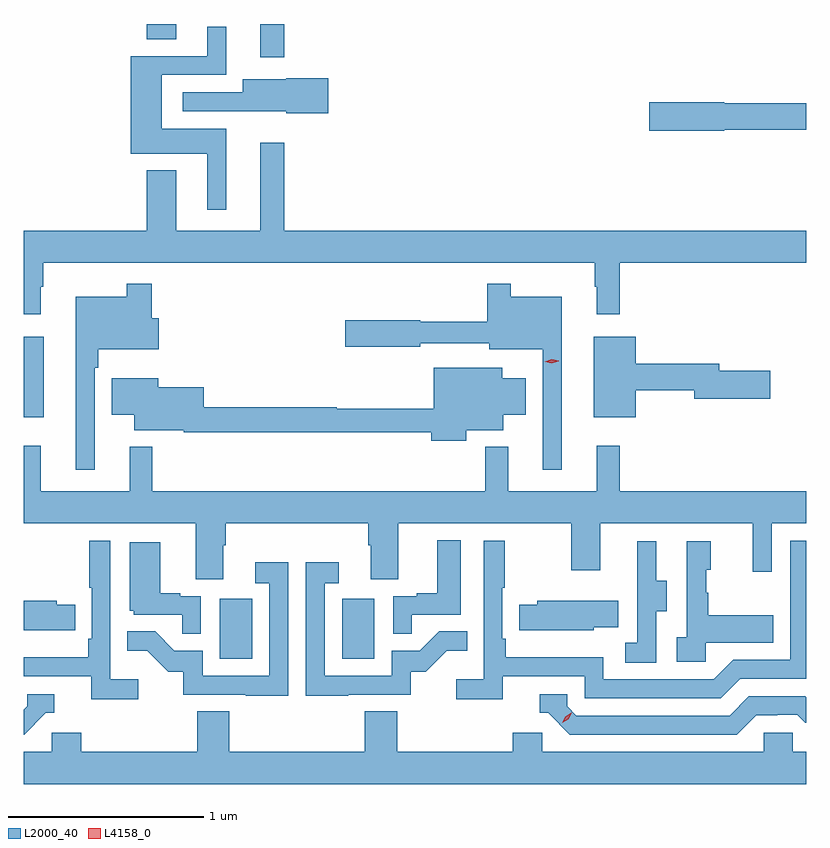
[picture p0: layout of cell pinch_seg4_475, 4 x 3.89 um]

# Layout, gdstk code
import gdstk
lib = gdstk.Library(unit=1e-6, precision=1e-09)
def R(c, l, rs):  # rectangles x0, y0, x1, y1
    for r in rs: c.add(gdstk.rectangle(r[:2], r[2:], *l))
def P(c, l, *ps):  # polygons
    for p in ps: c.add(gdstk.Polygon(p, *l))
L2000_40 = (2000, 40)
L4158_0 = (4158, 0)

pinch_seg4_475 = lib.new_cell('pinch_seg4_475')
R(pinch_seg4_475, L2000_40, [(924.824,752.172,924.988,752.479), (925.448,752.172,925.612,752.479), (923.821,753.407,923.923,753.817), (925.031,755.247,925.153,755.417), (924.449,755.338,924.601,755.417)])
P(pinch_seg4_475, L2000_40, [(924.856,754.882),(924.526,754.882),(924.526,755.157),(924.856,755.157),(924.856,755.404),(924.758,755.404),(924.758,755.253),(924.368,755.253),(924.368,754.754),(924.758,754.754),(924.758,754.467),(924.856,754.467)],
  [(925.378,755.139),(925.164,755.139),(925.164,755.134),(924.941,755.134),(924.941,755.067),(924.633,755.067),(924.633,754.971),(924.945,754.971),(924.945,754.97),(925.164,754.97),(925.164,754.961),(925.378,754.961)],
  [(927.402,754.876),(927.821,754.876),(927.821,755.012),(927.402,755.012),(927.402,755.018),(927.018,755.018),(927.018,754.871),(927.402,754.871)],
  [(923.908,754.073),(923.92,754.073),(923.92,754.196),(926.739,754.196),(926.739,754.073),(926.75,754.073),(926.75,753.933),(926.867,753.933),(926.867,754.196),(927.821,754.196),(927.821,754.36),(925.153,754.36),(925.153,754.81),(925.031,754.81),(925.031,754.36),(924.601,754.36),(924.601,754.669),(924.449,754.669),(924.449,754.36),(923.821,754.36),(923.821,753.933),(923.908,753.933)],
  [(926.572,754.024),(926.311,754.024),(926.311,754.09),(926.19,754.09),(926.19,753.895),(925.848,753.895),(925.848,753.903),(925.464,753.903),(925.464,753.766),(925.848,753.766),(925.848,753.786),(926.201,753.786),(926.201,753.755),(926.475,753.755),(926.475,753.138),(926.572,753.138)],
  [(924.183,753.659),(924.203,753.659),(924.203,753.755),(924.511,753.755),(924.511,753.913),(924.476,753.913),(924.476,754.09),(924.348,754.09),(924.348,754.024),(924.086,754.024),(924.086,753.138),(924.183,753.138)],
  [(926.95,753.544),(927.248,753.544),(927.248,753.502),(927.637,753.502),(927.637,753.644),(927.376,753.644),(927.376,753.68),(926.95,753.68),(926.95,753.817),(926.735,753.817),(926.735,753.407),(926.95,753.407)],
  [(926.082,753.341),(926.272,753.341),(926.272,753.419),(926.386,753.419),(926.386,753.607),(926.266,753.607),(926.266,753.661),(925.916,753.661),(925.916,753.451),(925.42,753.451),(925.42,753.458),(924.742,753.458),(924.742,753.559),(924.508,753.559),(924.508,753.607),(924.272,753.607),(924.272,753.419),(924.386,753.419),(924.386,753.341),(924.638,753.341),(924.638,753.33),(925.904,753.33),(925.904,753.287),(926.082,753.287)],
  [(924.841,752.752),(924.854,752.752),(924.854,752.864),(925.583,752.864),(925.583,752.752),(925.595,752.752),(925.595,752.578),(925.735,752.578),(925.735,752.864),(926.62,752.864),(926.62,752.625),(926.767,752.625),(926.767,752.864),(927.548,752.864),(927.548,752.616),(927.645,752.616),(927.645,752.864),(927.821,752.864),(927.821,753.028),(926.867,753.028),(926.867,753.262),(926.75,753.262),(926.75,753.028),(926.297,753.028),(926.297,753.256),(926.179,753.256),(926.179,753.028),(924.479,753.028),(924.479,753.256),(924.362,753.256),(924.362,753.028),(923.909,753.028),(923.909,753.262),(923.821,753.262),(923.821,752.864),(924.701,752.864),(924.701,752.578),(924.841,752.578)],
  [(925.805,752.397),(926.056,752.397),(926.056,752.779),(925.934,752.779),(925.934,752.506),(925.831,752.506),(925.831,752.493),(925.71,752.493),(925.71,752.299),(925.805,752.299)],
  [(924.406,752.068),(924.264,752.068),(924.264,752.776),(924.156,752.776),(924.156,752.536),(924.168,752.536),(924.168,752.275),(924.151,752.275),(924.151,752.179),(923.821,752.179),(923.821,752.082),(924.167,752.082),(924.167,751.966),(924.406,751.966)],
  [(926.27,752.082),(926.688,752.082),(926.688,751.971),(927.385,751.971),(927.484,752.07),(927.821,752.07),(927.821,752.775),(927.738,752.775),(927.738,752.166),(927.447,752.166),(927.348,752.067),(926.784,752.067),(926.784,752.179),(926.285,752.179),(926.285,752.275),(926.268,752.275),(926.268,752.536),(926.281,752.536),(926.281,752.776),(926.172,752.776),(926.172,752.068),(926.031,752.068),(926.031,751.966),(926.27,751.966)],
  [(927.054,752.416),(927.109,752.416),(927.109,752.571),(927.055,752.571),(927.055,752.773),(926.957,752.773),(926.957,752.559),(926.958,752.559),(926.958,752.255),(926.895,752.255),(926.895,752.152),(927.054,752.152)],
  [(927.306,752.255),(927.653,752.255),(927.653,752.395),(927.319,752.395),(927.319,752.51),(927.309,752.51),(927.309,752.628),(927.334,752.628),(927.334,752.773),(927.21,752.773),(927.21,752.282),(927.159,752.282),(927.159,752.157),(927.306,752.157)],
  [(924.726,752.493),(924.62,752.493),(924.62,752.506),(924.52,752.506),(924.52,752.767),(924.362,752.767),(924.362,752.418),(924.384,752.418),(924.384,752.397),(924.631,752.397),(924.631,752.299),(924.726,752.299)],
  [(925.173,752.665),(925.005,752.665),(925.005,752.559),(925.077,752.559),(925.077,752.085),(924.735,752.085),(924.735,752.214),(924.591,752.214),(924.493,752.312),(924.349,752.312),(924.349,752.213),(924.453,752.213),(924.56,752.106),(924.637,752.106),(924.637,751.989),(924.955,751.989),(924.955,751.984),(925.173,751.984)],
  [(925.481,751.989),(925.8,751.989),(925.8,752.106),(925.876,752.106),(925.983,752.213),(926.087,752.213),(926.087,752.312),(925.944,752.312),(925.846,752.214),(925.701,752.214),(925.701,752.085),(925.359,752.085),(925.359,752.559),(925.432,752.559),(925.432,752.665),(925.263,752.665),(925.263,751.984),(925.481,751.984)],
  [(926.736,752.333),(926.861,752.333),(926.861,752.47),(926.447,752.47),(926.447,752.448),(926.353,752.448),(926.353,752.319),(926.464,752.319),(926.464,752.318),(926.736,752.318)],
  [(923.972,752.319),(924.083,752.319),(924.083,752.448),(923.989,752.448),(923.989,752.47),(923.821,752.47),(923.821,752.318),(923.972,752.318)],
  [(923.934,751.896),(923.977,751.896),(923.977,751.992),(923.838,751.992),(923.838,751.929),(923.821,751.912),(923.821,751.785),(923.823,751.785)],
  [(927.565,751.884),(927.672,751.884),(927.672,751.887),(927.775,751.887),(927.817,751.845),(927.821,751.845),(927.821,751.976),(927.817,751.98),(927.528,751.98),(927.429,751.881),(926.646,751.881),(926.598,751.929),(926.598,751.992),(926.459,751.992),(926.459,751.896),(926.502,751.896),(926.613,751.785),(927.466,751.785)],
  [(927.821,751.696),(927.753,751.696),(927.753,751.794),(927.603,751.794),(927.603,751.696),(926.472,751.696),(926.472,751.794),(926.321,751.794),(926.321,751.696),(925.73,751.696),(925.73,751.904),(925.565,751.904),(925.565,751.696),(924.872,751.696),(924.872,751.904),(924.707,751.904),(924.707,751.696),(924.116,751.696),(924.116,751.794),(923.964,751.794),(923.964,751.696),(923.821,751.696),(923.821,751.532),(927.821,751.532)])
P(pinch_seg4_475, L4158_0, [(926.521,753.683),(926.485,753.691),(926.485,753.691),(926.485,753.691),(926.52,753.703),(926.556,753.695),(926.556,753.694),(926.556,753.694)],
  [(926.574,751.844),(926.574,751.844),(926.59,751.876),(926.621,751.896),(926.622,751.896),(926.622,751.895),(926.605,751.863),(926.574,751.844)])

lib.write_gds('pinch_seg4_475.gds')
